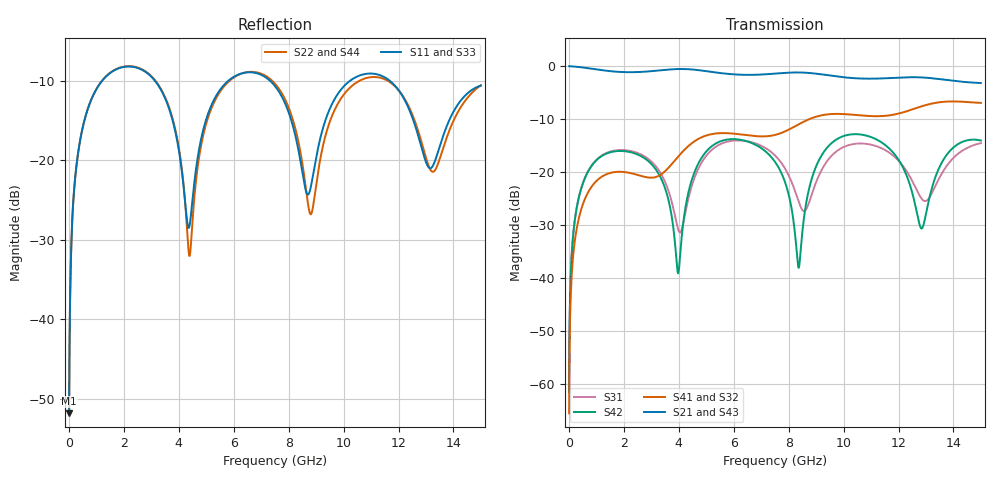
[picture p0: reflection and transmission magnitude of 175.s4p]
! Created with skrf 1.8.0 (http://scikit-rf.org).
# GHz S RI R 50.0
!freq ReS11 ImS11 ReS12 ImS12 ReS13 ImS13
! ReS14 ImS14
! ReS21 ImS21 ReS22 ImS22 ReS23 ImS23
! ReS24 ImS24
! ReS31 ImS31 ReS32 ImS32 ReS33 ImS33
! ReS34 ImS34
! ReS41 ImS41 ReS42 ImS42 ReS43 ImS43
! ReS44 ImS44
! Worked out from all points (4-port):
!   2499 points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, 5 MHz to 15 GHz, reference 50 ohm
!   strongest paths, dB at 5 MHz, 3.476 GHz, 7.19 GHz, 11.1 GHz, 15 GHz:
!     S21: 0.0, -0.7, -1.5, -2.4, -3.2
!     S43: 0.0, -0.7, -1.5, -2.4, -3.2
!     S41: -65.5, -19.9, -13.2, -9.5, -7.0
!     S32: -65.5, -20.0, -13.3, -9.5, -7.0
!     S42: -61.5, -22.7, -16.3, -13.6, -14.1
!     S31: -61.5, -21.6, -15.6, -15.0, -14.5
!   lowest |S11| = -51.8 dB at 5 MHz (marker M1), VSWR 1.01, Z = 50.2 + j0.156 ohm
!   |S11| at or under -10 dB: 3.137 GHz to 5.791 GHz (2.654 GHz wide, 59.5 % of centre); 7.332 GHz to 10.22 GHz (2.89 GHz wide, 32.9 % of centre); 11.69 GHz to end of sweep (the widest 3 of 4)
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0.005  0.00205 0.00155  0.9979 -0.00398  0.000105 0.000832  -0.000102 -0.000519
       0.9979 -0.00398  0.00205 0.00155  -0.000102 -0.000519  0.000105 0.000832
       0.000105 0.000832  -0.000102 -0.000519  0.00205 0.00155  0.9979 -0.00398
       -0.000102 -0.000519  0.000105 0.000832  0.9979 -0.00398  0.00205 0.00155
0.3126303  0.035 0.0996  0.9519 -0.2449  0.0172 0.0478  -0.014 -0.0291
           0.9519 -0.2449  0.0351 0.0996  -0.014 -0.0291  0.0166 0.0479
           0.0172 0.0478  -0.014 -0.0291  0.035 0.0996  0.9519 -0.2449
           -0.014 -0.0291  0.0166 0.0479  0.9519 -0.2449  0.0351 0.0996
1.3193  0.2876 0.1692  0.5075 -0.7511  0.1396 0.0531  -0.0942 0.000924
        0.5075 -0.7511  0.2894 0.1679  -0.0941 0.000826  0.1344 0.061
        0.1396 0.0531  -0.0941 0.000826  0.2877 0.1692  0.5075 -0.7511
        -0.0942 0.000924  0.1344 0.061  0.5075 -0.7511  0.2894 0.1679
4.29554  0.0377 -0.0195  -0.9274 -0.1224  -0.0201 0.0446  -0.018 0.1701
         -0.9274 -0.1224  0.0254 -0.0281  -0.0196 0.17  0.0171 0.0525
         -0.0201 0.0446  -0.0196 0.17  0.0363 -0.0199  -0.9274 -0.1225
         -0.018 0.1701  0.0171 0.0525  -0.9274 -0.1225  0.0268 -0.0283
8.791163  0.063 0.0208  0.8494 0.1301  -0.0246 0.0505  0.0353 -0.3167
          0.8494 0.1301  0.0457 -0.005  0.0414 -0.3163  0.0409 0.0663
          -0.0246 0.0505  0.0414 -0.3163  0.0592 0.0182  0.8494 0.1302
          0.0353 -0.3167  0.0409 0.0663  0.8494 0.1302  0.0498 -0.00771
11.62985  0.3052 -0.1043  -0.1354 -0.7574  0.0723 -0.1366  -0.3221 0.114
          -0.1354 -0.7574  0.3064 -0.0766  -0.3244 0.1063  0.0867 -0.1462
          0.0723 -0.1366  -0.3244 0.1063  0.3057 -0.1016  -0.1375 -0.7573
          -0.3221 0.114  0.0867 -0.1462  -0.1375 -0.7573  0.3041 -0.081
15  0.2905 0.057  -0.3841 0.5754  0.1554 -0.105  0.4055 0.1925
    -0.3841 0.5754  0.2766 0.1092  0.3997 0.2036  0.1854 -0.0701
    0.1554 -0.105  0.3997 0.2036  0.2824 0.0575  -0.3828 0.5798
    0.4055 0.1925  0.1854 -0.0701  -0.3828 0.5798  0.2709 0.0978
